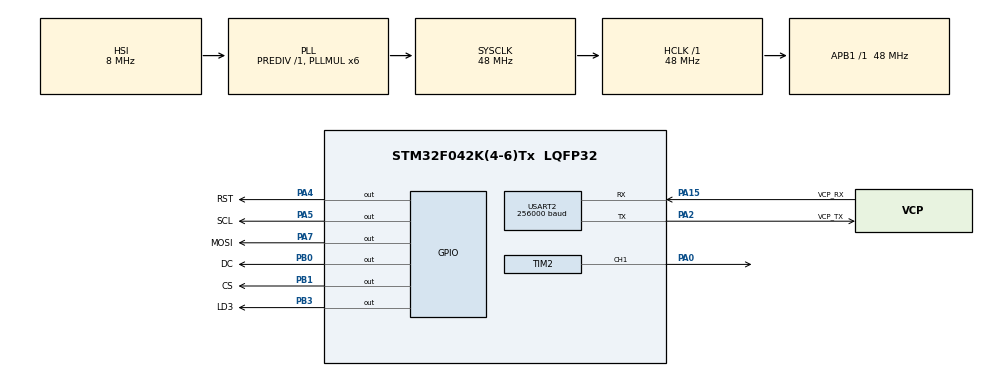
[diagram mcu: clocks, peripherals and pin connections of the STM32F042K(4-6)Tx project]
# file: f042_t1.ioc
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ADC.ClockPrescaler=ADC_CLOCK_ASYNC_DIV1
ADC.ContinuousConvMode=ENABLE
ADC.DMAContinuousRequests=ENABLE
ADC.DataAlign=ADC_DATAALIGN_RIGHT
ADC.DiscontinuousConvMode=DISABLE
ADC.EOCSelection=ADC_EOC_SINGLE_CONV
ADC.EnableAnalogWatchDog=false
ADC.ExternalTrigConv=ADC_SOFTWARE_START
ADC.ExternalTrigConvEdge=ADC_EXTERNALTRIGCONVEDGE_NONE
ADC.LowPowerAutoPowerOff=DISABLE
ADC.LowPowerAutoWait=DISABLE
ADC.Overrun=ADC_OVR_DATA_PRESERVED
ADC.Resolution=ADC_RESOLUTION_12B
ADC.SamplingTime=ADC_SAMPLETIME_239CYCLES_5
ADC.ScanConvMode=ADC_SCAN_DIRECTION_FORWARD
Dma.ADC.2.Direction=DMA_PERIPH_TO_MEMORY
Dma.ADC.2.Instance=DMA1_Channel1
Dma.ADC.2.MemDataAlignment=DMA_MDATAALIGN_HALFWORD
Dma.ADC.2.MemInc=DMA_MINC_ENABLE
Dma.ADC.2.Mode=DMA_CIRCULAR
Dma.ADC.2.PeriphDataAlignment=DMA_PDATAALIGN_HALFWORD
Dma.ADC.2.PeriphInc=DMA_PINC_DISABLE
Dma.ADC.2.Priority=DMA_PRIORITY_LOW
Dma.Request0=USART2_RX
Dma.Request1=USART2_TX
Dma.Request2=ADC
Dma.USART2_RX.0.Direction=DMA_PERIPH_TO_MEMORY
Dma.USART2_RX.0.Instance=DMA1_Channel5
Dma.USART2_RX.0.MemDataAlignment=DMA_MDATAALIGN_BYTE
Dma.USART2_RX.0.MemInc=DMA_MINC_ENABLE
Dma.USART2_RX.0.Mode=DMA_NORMAL
Dma.USART2_RX.0.PeriphDataAlignment=DMA_PDATAALIGN_BYTE
Dma.USART2_RX.0.PeriphInc=DMA_PINC_DISABLE
Dma.USART2_RX.0.Priority=DMA_PRIORITY_LOW
Dma.USART2_TX.1.Direction=DMA_MEMORY_TO_PERIPH
Dma.USART2_TX.1.Instance=DMA1_Channel4
Dma.USART2_TX.1.MemDataAlignment=DMA_MDATAALIGN_BYTE
Dma.USART2_TX.1.MemInc=DMA_MINC_ENABLE
Dma.USART2_TX.1.Mode=DMA_NORMAL
Dma.USART2_TX.1.PeriphDataAlignment=DMA_PDATAALIGN_BYTE
Dma.USART2_TX.1.PeriphInc=DMA_PINC_DISABLE
Dma.USART2_TX.1.Priority=DMA_PRIORITY_LOW
Mcu.Family=STM32F0
Mcu.Name=STM32F042K(4-6)Tx
Mcu.Package=LQFP32
Mcu.UserConstants=ADC_CHAN_NO,3;VREF_MV,3300
NVIC.DMA1_Channel1_IRQn=true\:0\:0\:false\:false\:true\:false\:true\:true
NVIC.DMA1_Channel4_5_IRQn=true\:0\:0\:false\:false\:true\:false\:true\:true
PA0.GPIO_ModeDefaultPP=GPIO_MODE_AF_PP
PA0.GPIO_PuPd=GPIO_NOPULL
PA0.Signal=S_TIM2_CH1_ETR
PA13.GPIO_Label=SWDIO
PA13.Mode=Serial_Wire
PA13.Signal=SYS_SWDIO
PA14.GPIO_Label=SWCLK
PA14.Mode=Serial_Wire
PA14.Signal=SYS_SWCLK
PA15.GPIO_Label=VCP_RX
PA15.Mode=Asynchronous
PA15.Signal=USART2_RX
PA2.GPIO_Label=VCP_TX
PA2.Mode=Asynchronous
PA2.Signal=USART2_TX
PA4.GPIO_Label=RST
PA4.Signal=GPIO_Output
PA5.GPIO_Label=SCL
PA5.Signal=GPIO_Output
PA7.GPIO_Label=MOSI
PA7.Signal=GPIO_Output
PB0.GPIO_Label=DC
PB0.GPIO_ModeDefaultOutputPP=GPIO_MODE_OUTPUT_PP
PB0.GPIO_PuPd=GPIO_NOPULL
PB0.Signal=GPIO_Output
PB1.GPIO_Label=CS
PB1.GPIO_ModeDefaultOutputPP=GPIO_MODE_OUTPUT_PP
PB1.GPIO_PuPd=GPIO_NOPULL
PB1.Signal=GPIO_Output
PB3.GPIO_Label=LD3
PB3.GPIO_ModeDefaultOutputPP=GPIO_MODE_OUTPUT_PP
PB3.GPIO_PuPd=GPIO_NOPULL
PB3.Signal=GPIO_Output
ProjectManager.HeapSize=0x200
ProjectManager.StackSize=0x400
ProjectManager.TargetToolchain=STM32CubeIDE
RCC.AHBFreq_Value=48000000
RCC.APB1Freq_Value=48000000
RCC.APB1TimFreq_Value=48000000
RCC.HCLKFreq_Value=48000000
RCC.PLLMUL=RCC_PLL_MUL6
RCC.SYSCLKFreq_VALUE=48000000
RCC.SYSCLKSource=RCC_SYSCLKSOURCE_PLLCLK
SH.S_TIM2_CH1_ETR.0=TIM2_CH1,PWM Generation1 CH1
TIM2.AutoReloadPreload=TIM_AUTORELOAD_PRELOAD_DISABLE
TIM2.Channel-PWM\ Generation1\ CH1=TIM_CHANNEL_1
TIM2.Period=1000
TIM2.Pulse-PWM\ Generation1\ CH1=100
USART2.BaudRate=256000
USART2.VirtualMode-Asynchronous=VM_ASYNC
USART2.WordLength=WORDLENGTH_8B
VP_ADC_TempSens_Input.Mode=IN-TempSens
VP_ADC_Vbat_Input.Mode=IN-Vbat
VP_ADC_Vref_Input.Mode=IN-Vrefint
VP_TIM2_VS_ClockSourceINT.Mode=Internal
board=NUCLEO-F042K6

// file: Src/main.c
/* USER CODE BEGIN Header */
/**
 ******************************************************************************
 * @file           : main.c
 * @brief          : Main program body
 ******************************************************************************
 * @attention
 *
 * Copyright (c) 2026 STMicroelectronics.
 * All rights reserved.
 *
 * This software is licensed under terms that can be found in the LICENSE file
 * in the root directory of this software component.
 * If no LICENSE file comes with this software, it is provided AS-IS.
 *
 ******************************************************************************
 */
/* USER CODE END Header */
#include "main.h"
#include "adc.h"
#include "dma.h"
#include "tim.h"
#include "usart.h"
#include "gpio.h"

/* USER CODE BEGIN Includes */
#include "lcd_st7735.h"
#include <stdint.h>
#include <stdio.h>

extern UART_HandleTypeDef huart2;

#ifdef __GNUC__
/* With GCC, small printf (option LD Linker->Libraries->Small printf
 set to 'Yes') calls __io_putchar() */
#define PUTCHAR_PROTOTYPE int __io_putchar(int ch)
#else
#define PUTCHAR_PROTOTYPE int fputc(int ch, FILE *f)
#endif /* __GNUC__ */
/* USER CODE END Includes */

void SystemClock_Config(void);

/* USER CODE BEGIN 0 */
__IO uint16_t g_ADCBuf[ADC_CHAN_NO];

uint8_t tmp_color_idx = 0;
const uint16_t tmp_color_table[] = { WHITE, BLACK, RED, GREEN, BLUE };
#define	COLOR_TABLE_LEN	(sizeof(tmp_color_table) / sizeof(tmp_color_table[0]))
uint8_t test_y_idx = 0;

/**
 * @brief  Retargets the C library printf function to the USART.
 * @param  None
 * @retval None
 */
PUTCHAR_PROTOTYPE {
	/* Place your implementation of fputc here */
	/* e.g. write a character to the USART3 and Loop until the end of transmission
	 */
	HAL_UART_Transmit(&huart2, (uint8_t*) &ch, 1, 0xFFFF);

	return ch;
}

/* USER CODE END 0 */

int main(void) {

	/* MCU Configuration--------------------------------------------------------*/

	/* Reset of all peripherals, Initializes the Flash interface and the Systick. */
	HAL_Init();

	/* Configure the system clock */
	SystemClock_Config();

	/* Initialize all configured peripherals */
	MX_GPIO_Init();
	MX_DMA_Init();
	MX_ADC_Init();
	MX_USART2_UART_Init();
	MX_TIM2_Init();
	/* USER CODE BEGIN 2 */
	uint32_t test_pwm_duty = 320;

	HAL_TIM_Base_Start(&htim2);
	HAL_TIM_PWM_Start(&htim2, TIM_CHANNEL_1);
	__HAL_TIM_SET_COMPARE(&htim2, TIM_CHANNEL_1, test_pwm_duty);

	printf("NUCLEO-F042K6 @ %u Hz, %u %u %u\n", SystemCoreClock,
			*(uint16_t*) (0x1FFFF7B8), *(uint16_t*) (0x1FFFF7C2),
			*(uint16_t*) (0x1FFFF7BA));
	HAL_ADC_Start_DMA(&hadc, (uint32_t*) g_ADCBuf, ADC_CHAN_NO);

	printf("SysClk:%u, CPUID:%08X\n", SystemCoreClock, SCB->CPUID);

//	Lcd_Init();
	st7735_Init();

	Lcd_Clear(WHITE);

	Gui_DrawFont_GBK16(0, 60, BLUE, GRAY0, "N:1");
	Gui_DrawFont_GBK16(20, 20, RED, GRAY0, "X:2");

	/* USER CODE END 2 */

	/* Infinite loop */
	/* USER CODE BEGIN WHILE */
	uint8_t g_line_buf[40] = { };
	while (1) {
		HAL_GPIO_TogglePin(LD3_GPIO_Port, LD3_Pin);
		HAL_Delay(1500);

		/* USER CODE END WHILE */

		/* USER CODE BEGIN 3 */
		uint32_t tmp_ticks = HAL_GetTick();
//		Lcd_Clear(tmp_color_table[tmp_color_idx]);
		Gui_DrawLine(0, test_y_idx, ST7735_LCD_PIXEL_WIDTH-1, test_y_idx, RED);
		uint32_t delta_ticks = HAL_GetTick() - tmp_ticks;

		printf("%u %u %u %u\n", g_ADCBuf[0], g_ADCBuf[1], g_ADCBuf[2],
				delta_ticks);

		sprintf(g_line_buf, "%u %u %u", g_ADCBuf[0], delta_ticks, test_y_idx);
		Gui_DrawFont_GBK16(20, 20, ~tmp_color_table[tmp_color_idx],
				tmp_color_table[tmp_color_idx], g_line_buf);
//		tmp_color_idx = (tmp_color_idx + 1) % COLOR_TABLE_LEN;

		test_y_idx = (test_y_idx + 1) % ST7735_LCD_PIXEL_HEIGHT;
	}
	/* USER CODE END 3 */
}

void SystemClock_Config(void) {
	RCC_OscInitTypeDef RCC_OscInitStruct = { 0 };
	RCC_ClkInitTypeDef RCC_ClkInitStruct = { 0 };

	/** Initializes the RCC Oscillators according to the specified parameters
	 * in the RCC_OscInitTypeDef structure.
	 */
	RCC_OscInitStruct.OscillatorType = RCC_OSCILLATORTYPE_HSI
			| RCC_OSCILLATORTYPE_HSI14;
	RCC_OscInitStruct.HSIState = RCC_HSI_ON;
	RCC_OscInitStruct.HSI14State = RCC_HSI14_ON;
	RCC_OscInitStruct.HSICalibrationValue = RCC_HSICALIBRATION_DEFAULT;
	RCC_OscInitStruct.HSI14CalibrationValue = 16;
	RCC_OscInitStruct.PLL.PLLState = RCC_PLL_ON;
	RCC_OscInitStruct.PLL.PLLSource = RCC_PLLSOURCE_HSI;
	RCC_OscInitStruct.PLL.PLLMUL = RCC_PLL_MUL6;
	RCC_OscInitStruct.PLL.PREDIV = RCC_PREDIV_DIV1;
	if (HAL_RCC_OscConfig(&RCC_OscInitStruct) != HAL_OK) {
		Error_Handler();
	}

	/** Initializes the CPU, AHB and APB buses clocks
	 */
	RCC_ClkInitStruct.ClockType = RCC_CLOCKTYPE_HCLK | RCC_CLOCKTYPE_SYSCLK
			| RCC_CLOCKTYPE_PCLK1;
	RCC_ClkInitStruct.SYSCLKSource = RCC_SYSCLKSOURCE_PLLCLK;
	RCC_ClkInitStruct.AHBCLKDivider = RCC_SYSCLK_DIV1;
	RCC_ClkInitStruct.APB1CLKDivider = RCC_HCLK_DIV1;

	if (HAL_RCC_ClockConfig(&RCC_ClkInitStruct, FLASH_LATENCY_1) != HAL_OK) {
		Error_Handler();
	}
}

void Error_Handler(void) {
	__disable_irq();
	while (1) {
	}
}
